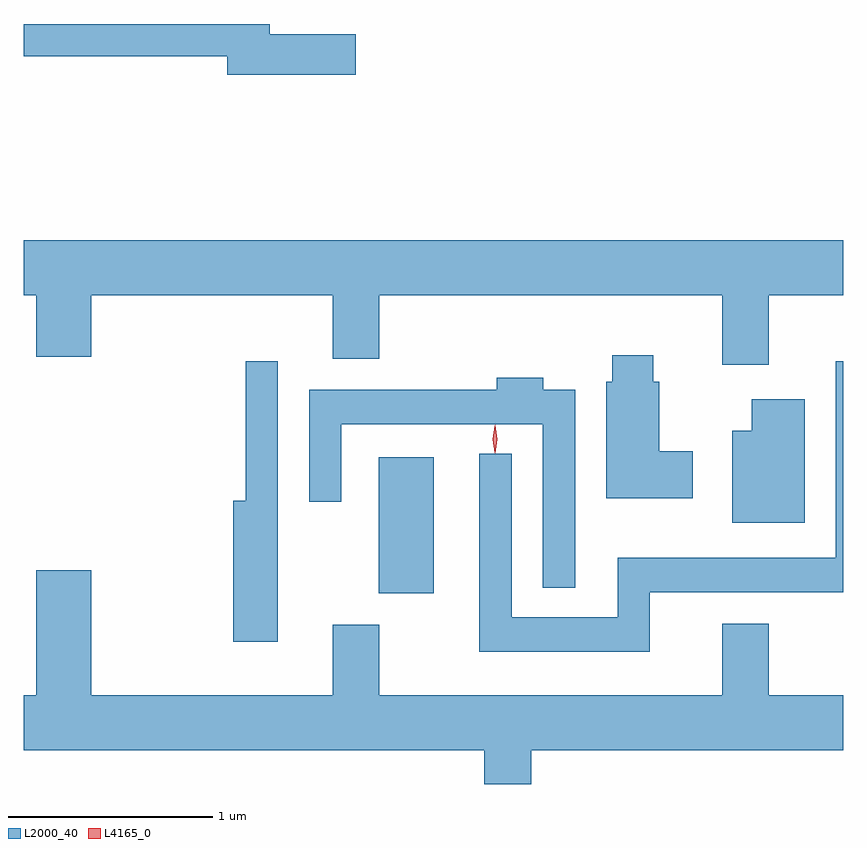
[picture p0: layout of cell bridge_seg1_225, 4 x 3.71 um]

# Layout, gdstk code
import gdstk
lib = gdstk.Library(unit=1e-6, precision=1e-09)
def R(c, l, rs):  # rectangles x0, y0, x1, y1
    for r in rs: c.add(gdstk.rectangle(r[:2], r[2:], *l))
def P(c, l, *ps):  # polygons
    for p in ps: c.add(gdstk.Polygon(p, *l))
L2000_40 = (2000, 40)
L4165_0 = (4165, 0)

bridge_seg1_225 = lib.new_cell('bridge_seg1_225')
R(bridge_seg1_225, L2000_40, [(836.126,898.121,836.394,898.784)])
P(bridge_seg1_225, L2000_40, [(836.014,900.849),(835.594,900.849),(835.594,900.899),(834.393,900.899),(834.393,900.741),(835.386,900.741),(835.386,900.651),(836.014,900.651)],
  [(838.029,899.576),(838.393,899.576),(838.393,899.844),(834.393,899.844),(834.393,899.576),(834.456,899.576),(834.456,899.276),(834.724,899.276),(834.724,899.576),(835.901,899.576),(835.901,899.266),(836.129,899.266),(836.129,899.576),(837.801,899.576),(837.801,899.236),(838.029,899.236)],
  [(837.659,898.814),(837.494,898.814),(837.494,899.154),(837.464,899.154),(837.464,899.284),(837.266,899.284),(837.266,899.154),(837.236,899.154),(837.236,898.586),(837.659,898.586)],
  [(837.449,898.126),(838.393,898.126),(838.393,899.253),(838.356,899.253),(838.356,898.294),(837.291,898.294),(837.291,898.004),(836.774,898.004),(836.774,898.803),(836.616,898.803),(836.616,897.836),(837.449,897.836)],
  [(835.634,899.253),(835.476,899.253),(835.476,898.574),(835.416,898.574),(835.416,897.886),(835.634,897.886)],
  [(837.084,899.114),(836.929,899.114),(836.929,899.174),(836.701,899.174),(836.701,899.114),(835.786,899.114),(835.786,898.568),(835.944,898.568),(835.944,898.946),(836.926,898.946),(836.926,898.148),(837.084,898.148)],
  [(838.204,899.069),(837.946,899.069),(837.946,898.914),(837.851,898.914),(837.851,898.466),(838.204,898.466)],
  [(836.869,897.356),(838.393,897.356),(838.393,897.624),(838.029,897.624),(838.029,897.974),(837.801,897.974),(837.801,897.624),(836.129,897.624),(836.129,897.969),(835.901,897.969),(835.901,897.624),(834.724,897.624),(834.724,898.234),(834.456,898.234),(834.456,897.624),(834.393,897.624),(834.393,897.356),(836.641,897.356),(836.641,897.191),(836.869,897.191)])
P(bridge_seg1_225, L4165_0, [(836.694,898.804),(836.685,898.873),(836.694,898.942),(836.695,898.943),(836.695,898.942),(836.705,898.873),(836.695,898.804),(836.695,898.804)],
  [(836.693,898.807),(836.693,898.807),(836.683,898.874),(836.693,898.94),(836.693,898.94),(836.694,898.94),(836.703,898.874),(836.694,898.807)])

lib.write_gds('bridge_seg1_225.gds')
